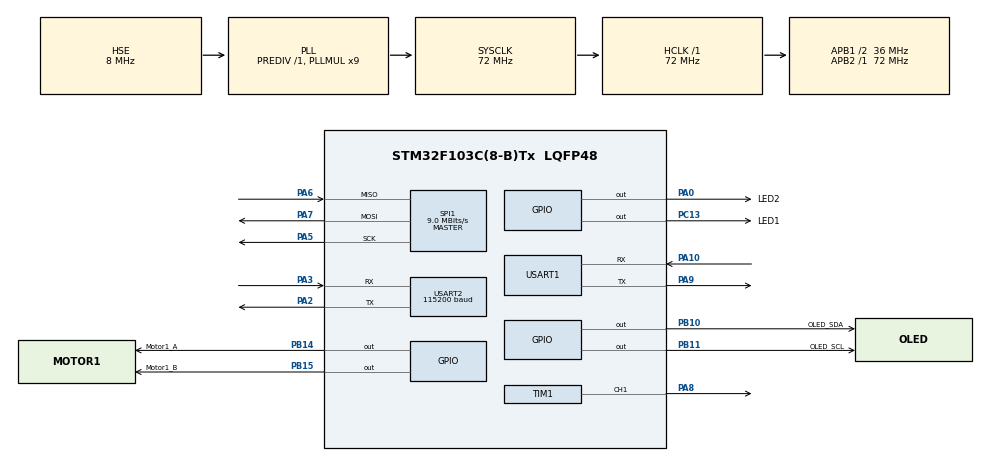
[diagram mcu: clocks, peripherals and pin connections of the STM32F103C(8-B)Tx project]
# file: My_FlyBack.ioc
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Dma.Request0=USART2_RX
Dma.Request1=USART2_TX
Dma.Request2=USART1_TX
Dma.Request3=SPI1_TX
Dma.SPI1_TX.3.Direction=DMA_MEMORY_TO_PERIPH
Dma.SPI1_TX.3.Instance=DMA1_Channel3
Dma.SPI1_TX.3.MemDataAlignment=DMA_MDATAALIGN_BYTE
Dma.SPI1_TX.3.MemInc=DMA_MINC_ENABLE
Dma.SPI1_TX.3.Mode=DMA_NORMAL
Dma.SPI1_TX.3.PeriphDataAlignment=DMA_PDATAALIGN_BYTE
Dma.SPI1_TX.3.PeriphInc=DMA_PINC_DISABLE
Dma.SPI1_TX.3.Priority=DMA_PRIORITY_VERY_HIGH
Dma.USART1_TX.2.Direction=DMA_MEMORY_TO_PERIPH
Dma.USART1_TX.2.Instance=DMA1_Channel4
Dma.USART1_TX.2.MemDataAlignment=DMA_MDATAALIGN_BYTE
Dma.USART1_TX.2.MemInc=DMA_MINC_ENABLE
Dma.USART1_TX.2.Mode=DMA_NORMAL
Dma.USART1_TX.2.PeriphDataAlignment=DMA_PDATAALIGN_BYTE
Dma.USART1_TX.2.PeriphInc=DMA_PINC_DISABLE
Dma.USART1_TX.2.Priority=DMA_PRIORITY_LOW
Dma.USART2_RX.0.Direction=DMA_PERIPH_TO_MEMORY
Dma.USART2_RX.0.Instance=DMA1_Channel6
Dma.USART2_RX.0.MemDataAlignment=DMA_MDATAALIGN_BYTE
Dma.USART2_RX.0.MemInc=DMA_MINC_ENABLE
Dma.USART2_RX.0.Mode=DMA_CIRCULAR
Dma.USART2_RX.0.PeriphDataAlignment=DMA_PDATAALIGN_BYTE
Dma.USART2_RX.0.PeriphInc=DMA_PINC_DISABLE
Dma.USART2_RX.0.Priority=DMA_PRIORITY_HIGH
Dma.USART2_TX.1.Direction=DMA_MEMORY_TO_PERIPH
Dma.USART2_TX.1.Instance=DMA1_Channel7
Dma.USART2_TX.1.MemDataAlignment=DMA_MDATAALIGN_BYTE
Dma.USART2_TX.1.MemInc=DMA_MINC_ENABLE
Dma.USART2_TX.1.Mode=DMA_NORMAL
Dma.USART2_TX.1.PeriphDataAlignment=DMA_PDATAALIGN_BYTE
Dma.USART2_TX.1.PeriphInc=DMA_PINC_DISABLE
Dma.USART2_TX.1.Priority=DMA_PRIORITY_LOW
Mcu.Family=STM32F1
Mcu.Name=STM32F103C(8-B)Tx
Mcu.Package=LQFP48
NVIC.DMA1_Channel3_IRQn=true\:0\:0\:false\:false\:true\:false\:true\:true
NVIC.DMA1_Channel4_IRQn=true\:0\:0\:false\:false\:true\:false\:true\:true
NVIC.DMA1_Channel6_IRQn=true\:0\:0\:false\:false\:true\:false\:true\:true
NVIC.DMA1_Channel7_IRQn=true\:0\:0\:false\:false\:true\:false\:true\:true
NVIC.PriorityGroup=NVIC_PRIORITYGROUP_4
NVIC.TIM2_IRQn=true\:2\:0\:true\:false\:true\:true\:true\:true
NVIC.TIM3_IRQn=true\:3\:0\:true\:false\:true\:true\:true\:true
NVIC.USART1_IRQn=true\:15\:0\:true\:false\:true\:true\:true\:true
NVIC.USART2_IRQn=true\:0\:0\:false\:false\:true\:true\:true\:true
PA0-WKUP.GPIO_Label=LED2
PA0-WKUP.GPIO_PuPd=GPIO_NOPULL
PA0-WKUP.GPIO_Speed=GPIO_SPEED_FREQ_HIGH
PA0-WKUP.PinState=GPIO_PIN_RESET
PA0-WKUP.Signal=GPIO_Output
PA10.Mode=Asynchronous
PA10.Signal=USART1_RX
PA13.Mode=Serial_Wire
PA13.Signal=SYS_JTMS-SWDIO
PA14.Mode=Serial_Wire
PA14.Signal=SYS_JTCK-SWCLK
PA2.Mode=Asynchronous
PA2.Signal=USART2_TX
PA3.Mode=Asynchronous
PA3.Signal=USART2_RX
PA5.Mode=Full_Duplex_Master
PA5.Signal=SPI1_SCK
PA6.Mode=Full_Duplex_Master
PA6.Signal=SPI1_MISO
PA7.Mode=Full_Duplex_Master
PA7.Signal=SPI1_MOSI
PA8.Signal=S_TIM1_CH1
PA9.Mode=Asynchronous
PA9.Signal=USART1_TX
PB10.GPIO_Label=OLED_SDA
PB10.GPIO_ModeDefaultOutputPP=GPIO_MODE_OUTPUT_OD
PB10.GPIO_PuPd=GPIO_PULLUP
PB10.GPIO_Speed=GPIO_SPEED_FREQ_HIGH
PB10.PinState=GPIO_PIN_SET
PB10.Signal=GPIO_Output
PB11.GPIO_Label=OLED_SCL
PB11.GPIO_Speed=GPIO_SPEED_FREQ_HIGH
PB11.Signal=GPIO_Output
PB14.GPIO_Label=Motor1_A
PB14.Signal=GPIO_Output
PB15.GPIO_Label=Motor1_B
PB15.Signal=GPIO_Output
PC13-TAMPER-RTC.GPIO_Label=LED1
PC13-TAMPER-RTC.Signal=GPIO_Output
PD0-OSC_IN.Mode=HSE-External-Oscillator
PD0-OSC_IN.Signal=RCC_OSC_IN
PD1-OSC_OUT.Mode=HSE-External-Oscillator
PD1-OSC_OUT.Signal=RCC_OSC_OUT
ProjectManager.HeapSize=0x200
ProjectManager.StackSize=0x400
ProjectManager.TargetToolchain=SW4STM32
RCC.AHBFreq_Value=72000000
RCC.APB1CLKDivider=RCC_HCLK_DIV2
RCC.APB1Freq_Value=36000000
RCC.APB1TimFreq_Value=72000000
RCC.APB2Freq_Value=72000000
RCC.APB2TimFreq_Value=72000000
RCC.HCLKFreq_Value=72000000
RCC.PLLMUL=RCC_PLL_MUL9
RCC.PLLSourceVirtual=RCC_PLLSOURCE_HSE
RCC.SYSCLKFreq_VALUE=72000000
RCC.SYSCLKSource=RCC_SYSCLKSOURCE_PLLCLK
RCC.USBFreq_Value=72000000
SH.S_TIM1_CH1.0=TIM1_CH1,PWM Generation1 CH1
SPI1.BaudRatePrescaler=SPI_BAUDRATEPRESCALER_8
SPI1.CRCCalculation=SPI_CRCCALCULATION_DISABLE
SPI1.CalculateBaudRate=9.0 MBits/s
SPI1.Direction=SPI_DIRECTION_2LINES
SPI1.Mode=SPI_MODE_MASTER
SPI1.VirtualType=VM_MASTER
TIM1.Channel-PWM\ Generation1\ CH1=TIM_CHANNEL_1
TIM1.Period=100 - 1
TIM1.Prescaler=720 - 1
TIM2.Period=1000 - 1
TIM2.Prescaler=720 - 1
TIM3.Period=100 - 1
TIM3.Prescaler=720 - 1
USART1.VirtualMode=VM_ASYNC
USART2.BaudRate=115200
USART2.VirtualMode=VM_ASYNC
VP_TIM1_VS_ClockSourceINT.Mode=Internal
VP_TIM2_VS_ClockSourceINT.Mode=Internal
VP_TIM3_VS_ClockSourceINT.Mode=Internal
board=custom

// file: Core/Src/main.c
/* USER CODE BEGIN Header */
/**
  ******************************************************************************
  * @file           : main.c
  * @brief          : Main program body
  ******************************************************************************
  * @attention
  *
  * Copyright (c) 2023 STMicroelectronics.
  * All rights reserved.
  *
  * This software is licensed under terms that can be found in the LICENSE file
  * in the root directory of this software component.
  * If no LICENSE file comes with this software, it is provided AS-IS.
  *
  ******************************************************************************
  */
/* USER CODE END Header */
#include "main.h"
#include "dma.h"
#include "spi.h"
#include "tim.h"
#include "usart.h"
#include "gpio.h"

/* USER CODE BEGIN Includes */
#include "string.h"
#include "retarget.h"
#include "Motor.h"
#include "Uart_RxPackage.h"
#include "OLED.h"
#include "Delay.h"
#include "LED_Ribbon.h"
#include "RGBColor.h"
/* USER CODE END Includes */

void SystemClock_Config(void);

/* USER CODE BEGIN 0 */
uint16_t i = 0;
UartRx_Package Uart2_Package;

uint8_t GreenBuff[27] = {0xFC,0x7E,0x3F,0x1F,0x8F,0xC7,0xE3,0xF1,0xF8,0xE0,0x70,0x38,0x1C,0x0E,0x07,0x03,0x01,0xC0,0xE0,0x70,0x38,0x1C,0x0E,0x07,0x03,0x01,0xC0};
uint8_t RedBuff[27] = {0xE0,0x70,0x38,0x1C,0x0E,0x07,0x03,0x01,0xC0,0xFC,0x7E,0x3F,0x1F,0x8F,0xC7,0xE3,0xF1,0xF8,0xE0,0x70,0x38,0x1C,0x0E,0x07,0x03,0x01,0xC0};
uint8_t BlueBuff[27] = {0xE0,0x70,0x38,0x1C,0x0E,0x07,0x03,0x01,0xC0,0xE0,0x70,0x38,0x1C,0x0E,0x07,0x03,0x01,0xC0,0xFC,0x7E,0x3F,0x1F,0x8F,0xC7,0xE3,0xF1,0xF8};
uint8_t WhiteBuff[27] = {252,126,63,31,143,199,227,241,248,252,126,63,31,143,199,227,241,248,252,126,63,31,143,199,227,241,248};
uint32_t cnt = 0;
/* USER CODE END 0 */

int main(void)
{

  /* MCU Configuration--------------------------------------------------------*/

  /* Reset of all peripherals, Initializes the Flash interface and the Systick. */
  HAL_Init();

  /* USER CODE BEGIN Init */
    RetargetInit(&huart1); //重定向串口二
  /* USER CODE END Init */

  /* Configure the system clock */
  SystemClock_Config();

  /* Initialize all configured peripherals */
  MX_GPIO_Init();
  MX_DMA_Init();
  MX_TIM1_Init();
  MX_TIM2_Init();
  MX_TIM3_Init();
  MX_USART1_UART_Init();
  MX_USART2_UART_Init();
  MX_SPI1_Init();
  /* USER CODE BEGIN 2 */
    HAL_TIM_Base_Start_IT(&htim2);
    HAL_TIM_Base_Start_IT(&htim3);
    Uart_RxPackage_Init(&Uart2_Package,&htim2,100,&huart2); //初始化串口接收数组
    Uart_PackageStart(&Uart2_Package);
    OLED_Init();

    LED_RibInit();
    HAL_Delay(250);

    OLED_ShowString(1,3,"UPoo~~");
    OLED_ShowString(3,10,"APP");
  /* USER CODE END 2 */

  /* Infinite loop */
  while (1)
  {

    /* USER CODE BEGIN 3 */
      //Water_FallLight(Rebound);
      hLedRib.RandomLED.RandomLightFun(); //随机亮灯
      Delay_ms(10);
//      LED_RibALLLight(0xFF, 0, 0);
//      Delay_ms(500);
//
//      LED_RibALLLight(0,0xFF,0);
//      Delay_ms(500);
//
//      LED_RibALLLight(0,0,0xFF);
//      Delay_ms(500);
//
//      LED_RibALLLight(VioletColor);
//      Delay_ms(500);
//
//      LED_RibALLLight(CyanColor);
//      Delay_ms(500);
//
//      LED_RibALLLight(IndigoColor);
//      Delay_ms(500);
//
//      LED_RibALLLight(DarkGreenColor);
//      Delay_ms(500);
//
//      LED_RibALLLight(KhakiColor);
//      Delay_ms(500);

       OLED_ShowNum(3,1,HAL_GetTick(),5);
      if(Uart2_Package.RxEndFalg == 1) //说明串口中断接收结束
    {
        Uart_DoTask(&Uart2_Package);
    }
  }
  /* USER CODE END 3 */
}

void SystemClock_Config(void)
{
  RCC_OscInitTypeDef RCC_OscInitStruct = {0};
  RCC_ClkInitTypeDef RCC_ClkInitStruct = {0};

  /** Initializes the RCC Oscillators according to the specified parameters
  * in the RCC_OscInitTypeDef structure.
  */
  RCC_OscInitStruct.OscillatorType = RCC_OSCILLATORTYPE_HSE;
  RCC_OscInitStruct.HSEState = RCC_HSE_ON;
  RCC_OscInitStruct.HSEPredivValue = RCC_HSE_PREDIV_DIV1;
  RCC_OscInitStruct.HSIState = RCC_HSI_ON;
  RCC_OscInitStruct.PLL.PLLState = RCC_PLL_ON;
  RCC_OscInitStruct.PLL.PLLSource = RCC_PLLSOURCE_HSE;
  RCC_OscInitStruct.PLL.PLLMUL = RCC_PLL_MUL9;
  if (HAL_RCC_OscConfig(&RCC_OscInitStruct) != HAL_OK)
  {
    Error_Handler();
  }

  /** Initializes the CPU, AHB and APB buses clocks
  */
  RCC_ClkInitStruct.ClockType = RCC_CLOCKTYPE_HCLK|RCC_CLOCKTYPE_SYSCLK
                              |RCC_CLOCKTYPE_PCLK1|RCC_CLOCKTYPE_PCLK2;
  RCC_ClkInitStruct.SYSCLKSource = RCC_SYSCLKSOURCE_PLLCLK;
  RCC_ClkInitStruct.AHBCLKDivider = RCC_SYSCLK_DIV1;
  RCC_ClkInitStruct.APB1CLKDivider = RCC_HCLK_DIV2;
  RCC_ClkInitStruct.APB2CLKDivider = RCC_HCLK_DIV1;

  if (HAL_RCC_ClockConfig(&RCC_ClkInitStruct, FLASH_LATENCY_2) != HAL_OK)
  {
    Error_Handler();
  }
}

void Error_Handler(void)
{
  __disable_irq();
  while (1)
  {
  }
}
